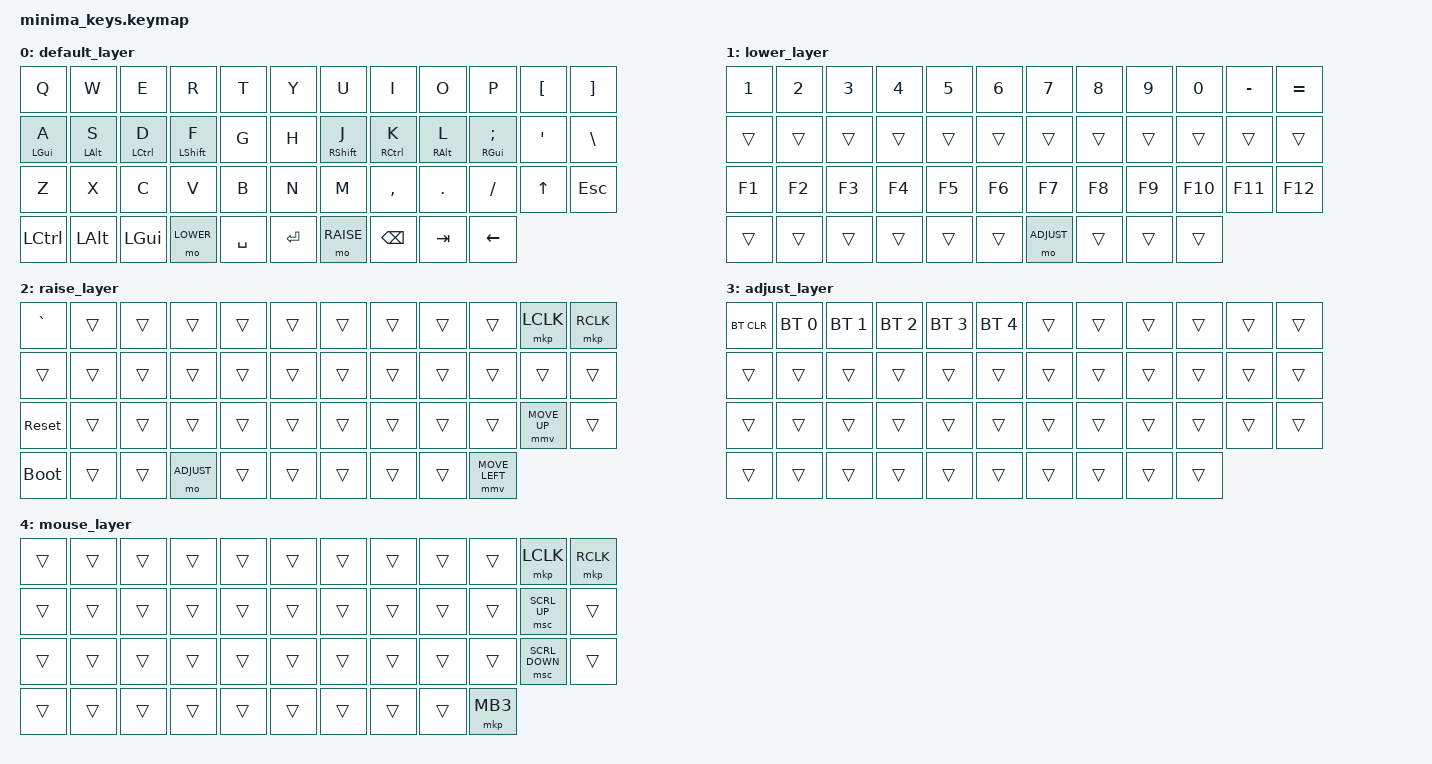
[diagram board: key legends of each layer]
/*
 * Copyright (c) 2024 YOUR_NAME
 *
 * SPDX-License-Identifier: MIT
 */

#include <behaviors.dtsi>
#include <dt-bindings/zmk/keys.h>
#include <dt-bindings/zmk/bt.h>
#include <dt-bindings/zmk/mouse.h>

// レイヤー定義
#define DEFAULT 0
#define LOWER 1
#define RAISE 2
#define ADJUST 3
#define MOUSE 4

// タップ・ホールド設定（高速レスポンス用）
&mt {
    flavor = "balanced";
    tapping-term-ms = <180>;
    quick-tap-ms = <150>;
    require-prior-idle-ms = <80>;  // タイピング中の高速レスポンス用
};

/ {
    behaviors {
        // ホームポジションモディファイア用
        hm: homerow_mods {
            compatible = "zmk,behavior-hold-tap";
            #binding-cells = <2>;
            flavor = "balanced";
            tapping-term-ms = <180>;
            quick-tap-ms = <150>;
            require-prior-idle-ms = <80>;
            bindings = <&kp>, <&kp>;
        };
    };

    keymap {
        compatible = "zmk,keymap";

        default_layer {
            // 基本レイヤー
            bindings = <
                &kp Q       &kp W       &kp E       &kp R       &kp T       &kp Y       &kp U       &kp I       &kp O       &kp P       &kp LBKT    &kp RBKT
                &hm LGUI A  &hm LALT S  &hm LCTRL D &hm LSHFT F &kp G       &kp H       &hm RSHFT J &hm RCTRL K &hm RALT L  &hm RGUI SEMI &kp SQT    &kp BSLH
                &kp Z       &kp X       &kp C       &kp V       &kp B       &kp N       &kp M       &kp COMMA   &kp DOT     &kp FSLH    &kp UP      &kp ESC
                &kp LCTRL   &kp LALT    &kp LGUI    &mo LOWER   &kp SPACE   &kp RET     &mo RAISE   &kp BSPC    &kp TAB     &kp LEFT    
            >;
        };

        lower_layer {
            // 数字、ファンクションキー
            bindings = <
                &kp N1      &kp N2      &kp N3      &kp N4      &kp N5      &kp N6      &kp N7      &kp N8      &kp N9      &kp N0      &kp MINUS   &kp EQUAL
                &trans      &trans      &trans      &trans      &trans      &trans      &trans      &trans      &trans      &trans      &trans      &trans
                &kp F1      &kp F2      &kp F3      &kp F4      &kp F5      &kp F6      &kp F7      &kp F8      &kp F9      &kp F10     &kp F11     &kp F12
                &trans      &trans      &trans      &trans      &trans      &trans      &mo ADJUST  &trans      &trans      &trans      
            >;
        };

        raise_layer {
            // トラックボール、マウス制御
            bindings = <
                &kp GRAVE   &trans      &trans      &trans      &trans      &trans      &trans      &trans      &trans      &trans      &mkp LCLK   &mkp RCLK
                &trans      &trans      &trans      &trans      &trans      &trans      &trans      &trans      &trans      &trans      &trans      &trans
                &sys_reset  &trans      &trans      &trans      &trans      &trans      &trans      &trans      &trans      &trans      &mmv MOVE_UP &trans
                &bootloader &trans      &trans      &mo ADJUST  &trans      &trans      &trans      &trans      &trans      &mmv MOVE_LEFT  
            >;
        };

        adjust_layer {
            // Bluetooth、システム設定
            bindings = <
                &bt BT_CLR  &bt BT_SEL 0 &bt BT_SEL 1 &bt BT_SEL 2 &bt BT_SEL 3 &bt BT_SEL 4 &trans  &trans  &trans  &trans  &trans  &trans
                &trans      &trans      &trans      &trans      &trans      &trans      &trans  &trans  &trans  &trans  &trans  &trans
                &trans      &trans      &trans      &trans      &trans      &trans      &trans  &trans  &trans  &trans  &trans  &trans
                &trans      &trans      &trans      &trans      &trans      &trans      &trans  &trans  &trans  &trans  
            >;
        };

        mouse_layer {
            // マウスレイヤー（トラックボール操作用）
            bindings = <
                &trans      &trans      &trans      &trans      &trans      &trans      &trans      &trans      &trans      &trans      &mkp LCLK   &mkp RCLK
                &trans      &trans      &trans      &trans      &trans      &trans      &trans      &trans      &trans      &trans      &msc SCRL_UP &trans
                &trans      &trans      &trans      &trans      &trans      &trans      &trans      &trans      &trans      &trans      &msc SCRL_DOWN &trans
                &trans      &trans      &trans      &trans      &trans      &trans      &trans      &trans      &trans      &mkp MB3    
            >;
        };
    };
};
